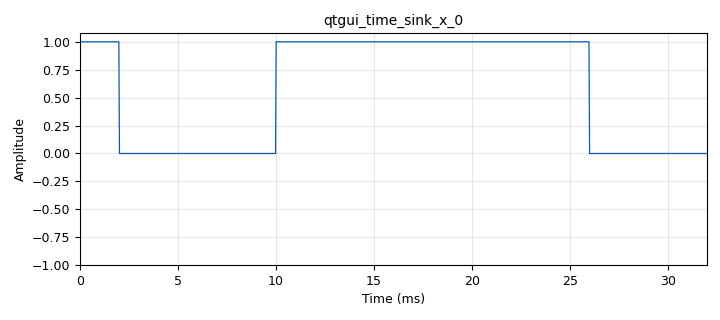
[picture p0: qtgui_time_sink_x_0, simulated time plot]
options:
  parameters:
    author: bunny
    generate_options: qt_gui
    id: t1
    output_language: python
    title: Not titled yet
  states: {}

blocks:
- name: hbits
  id: variable
  parameters:
    value: '48'
  states: {}
- name: nbits
  id: variable
  parameters:
    value: '256'
  states: {}
- name: samp_rate
  id: variable
  parameters:
    value: '32000'
  states: {}
- name: blocks_char_to_float_0
  id: blocks_char_to_float
  parameters:
    scale: '1'
  states: {}
- name: blocks_null_sink_0
  id: blocks_null_sink
  parameters:
    type: byte
  states: {}
- name: blocks_stream_to_tagged_stream_0
  id: blocks_stream_to_tagged_stream
  parameters:
    len_tag_key: '"falign"'
    packet_len: nbits
    type: byte
  states: {}
- name: blocks_tag_gate_0
  id: blocks_tag_gate
  parameters:
    propagate_tags: 'True'
    type: byte
  states: {}
- name: blocks_tagged_stream_mux_0
  id: blocks_tagged_stream_mux
  parameters:
    lengthtagname: falign
    ninputs: '2'
    type: byte
  states: {}
- name: blocks_vector_source_x_0
  id: blocks_vector_source_x
  parameters:
    repeat: 'True'
    type: byte
    vector: '[1]*(nbits//2)+[0]*(nbits//2)+[0]*(nbits//2) + [1]*(nbits//2)+[1]*nbits'
  states: {}
- name: blocks_vector_source_x_1
  id: blocks_vector_source_x
  parameters:
    repeat: 'True'
    type: byte
    vector: '[1]+[0]*(nbits+hbits-1)'
  states: {}
- name: blocks_vector_to_stream_0
  id: blocks_vector_to_stream
  parameters:
    num_items: '1'
    type: byte
  states: {}
- name: blocks_vector_to_stream_0_0
  id: blocks_vector_to_stream
  parameters:
    num_items: '1'
    type: byte
  states: {}
- name: digital_header_payload_demux_0
  id: digital_header_payload_demux
  parameters:
    header_len: hbits
    header_padding: '0'
    items_per_symbol: '1'
    length_tag_key: '"packet_len"'
    output_symbols: 'True'
    samp_rate: 32e3
    special_tags: (" ",)
    timing_tag_key: '"rx_time"'
    trigger_tag_key: '"falign"'
    type: byte
  states: {}
- name: digital_packet_headergenerator_bb_default_0
  id: digital_packet_headergenerator_bb_default
  parameters:
    header_len: hbits
    len_tag_key: '"falign"'
  states: {}
- name: digital_packet_headerparser_b_default_0
  id: digital_packet_headerparser_b_default
  parameters:
    header_len: hbits
    len_tag_key: '"packet_len"'
  states: {}
- name: import_0
  id: import
  parameters:
    imports: import numpy as np
  states: {}
- name: qtgui_time_sink_x_0
  id: qtgui_time_sink_x
  parameters:
    size: '1024'
    srate: samp_rate
    type: float
  states: {}

connections:
- [blocks_char_to_float_0, '0', qtgui_time_sink_x_0, '0']
- [blocks_stream_to_tagged_stream_0, '0', blocks_tagged_stream_mux_0, '1']
- [blocks_stream_to_tagged_stream_0, '0', digital_packet_headergenerator_bb_default_0, '0']
- [blocks_tag_gate_0, '0', digital_header_payload_demux_0, '0']
- [blocks_tagged_stream_mux_0, '0', blocks_tag_gate_0, '0']
- [blocks_vector_source_x_0, '0', blocks_stream_to_tagged_stream_0, '0']
- [blocks_vector_source_x_1, '0', digital_header_payload_demux_0, '1']
- [blocks_vector_to_stream_0, '0', digital_packet_headerparser_b_default_0, '0']
- [blocks_vector_to_stream_0_0, '0', blocks_null_sink_0, '0']
- [digital_header_payload_demux_0, '0', blocks_vector_to_stream_0, '0']
- [digital_header_payload_demux_0, '1', blocks_char_to_float_0, '0']
- [digital_header_payload_demux_0, '1', blocks_vector_to_stream_0_0, '0']
- [digital_packet_headergenerator_bb_default_0, '0', blocks_tagged_stream_mux_0, '0']
- [digital_packet_headerparser_b_default_0, header_data, digital_header_payload_demux_0, header_data]

metadata:
  file_format: 1
  grc_version: 3.10.7.0
